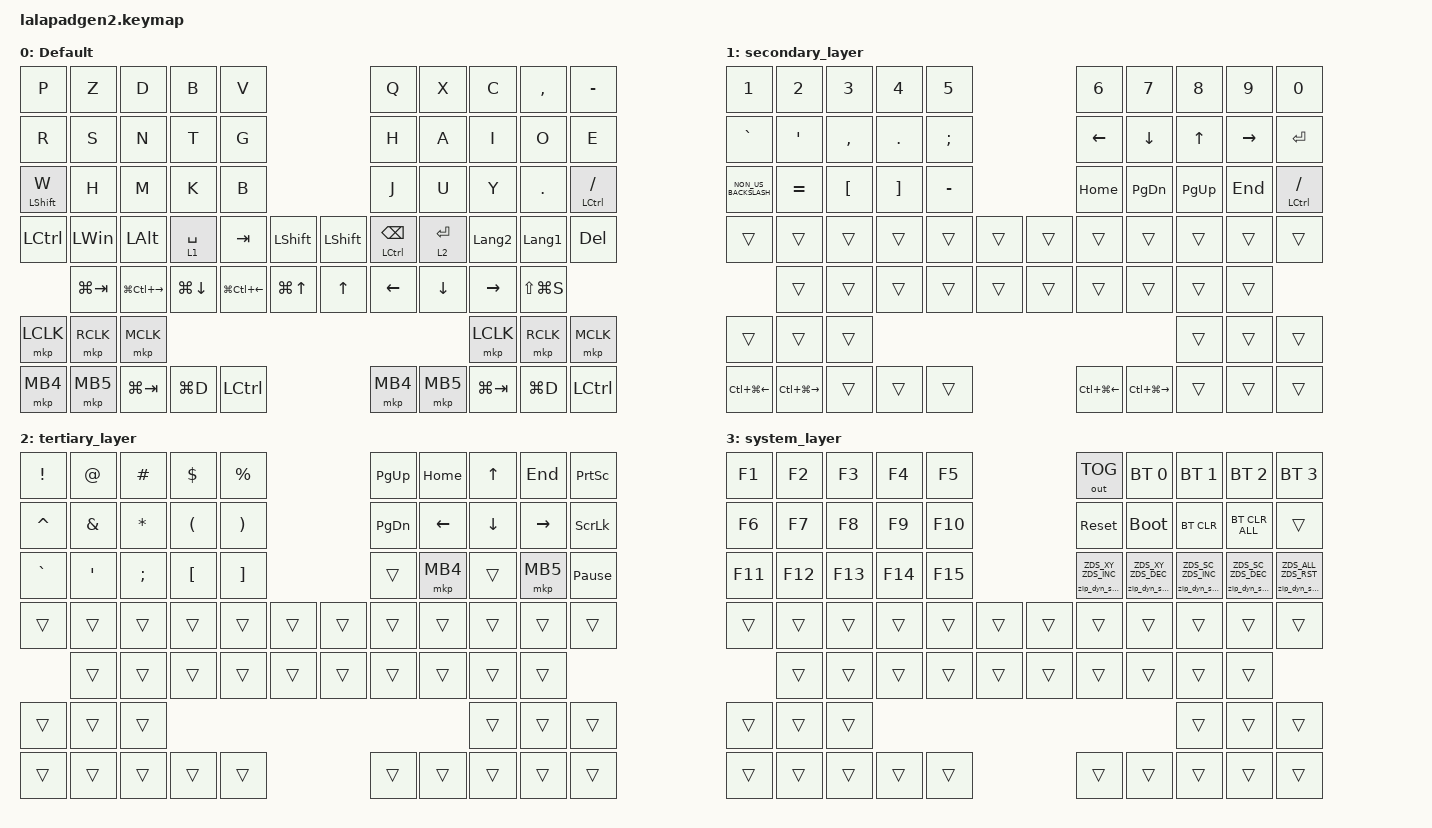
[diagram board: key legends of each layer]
#include <input/processors.dtsi>
#include <dt-bindings/zmk/zip_dynamic_scale.h>
#include <behaviors.dtsi>
#include <dt-bindings/zmk/bt.h>
#include <dt-bindings/zmk/keys.h>
#include <dt-bindings/zmk/outputs.h>
#include <dt-bindings/zmk/pointing.h>

#define DEFAULT_LAYER   0
#define SECONDARY_LAYER 1
#define TERTIARY_LAYER  2
#define SYSTEM_LAYER    3

&mt { quick-tap-ms = <200>; };

&lt { quick-tap-ms = <200>; };

/ {
    behaviors {
        zip_dyn_scale: zip_dyn_scale {
            compatible = "zmk,behavior-zip-dynamic-scale";
            #binding-cells = <2>;
        };

        zip_dyn_scale_set: zip_dyn_scale_set {
            compatible = "zmk,behavior-zip-dynamic-scale-set";
            #binding-cells = <2>;
        };

        mt2: mod_tap2 {
            compatible = "zmk,behavior-hold-tap";
            #binding-cells = <2>;
            flavor = "tap-preferred";
            tapping-term-ms = <200>;
            quick-tap-ms = <200>;
            require-prior-idle-ms = <125>;
            bindings = <&kp>, <&kp>;
        };

        tap_dance_layer_1and2: tap_dance_layer_1and2 {
            compatible = "zmk,behavior-tap-dance";
            label = "td_mo12";
            #binding-cells = <0>;
            bindings = <&mo 1>, <&mo 2>;
        };
    };

    combos {
        compatible = "zmk,combos";

        CONBO_ESC {
            bindings = <&kp ESCAPE>;
            key-positions = <0 1>;
        };

        COMBO_TAB {
            bindings = <&kp TAB>;
            key-positions = <10 11>;
        };

        R_click {
            bindings = <&mkp MB1>;
            key-positions = <12 13>;
        };

        L_click {
            bindings = <&mkp MB2>;
            key-positions = <12 11>;
        };

        M_click {
            bindings = <&mkp MB3>;
            key-positions = <11 13>;
        };

        mouse4 {
            bindings = <&mkp MB4>;
            key-positions = <1 2>;
        };

        mouse5 {
            bindings = <&mkp MB5>;
            key-positions = <2 3>;
        };

        ctrl-z {
            bindings = <&kp LC(Z)>;
            key-positions = <21 22>;
        };

        ctrl-y {
            bindings = <&kp LC(Y)>;
            key-positions = <22 23>;
        };
    };

    keymap {
        compatible = "zmk,keymap";

        DEFAULT_LAYER {
            display-name = "Default";
            bindings = <
&kp P              &kp Z        &kp D              &kp B         &kp V                                             &kp Q                       &kp X        &kp C           &kp COMMA       &kp MINUS
&kp R              &kp S        &kp N              &kp T         &kp G                                             &kp H                       &kp A        &kp I           &kp O           &kp E
&mt2 LEFT_SHIFT W  &kp H        &kp M              &kp K         &kp B                                             &kp J                       &kp U        &kp Y           &kp PERIOD      &mt LEFT_CONTROL SLASH
&kp LCTRL          &kp LWIN     &kp LEFT_ALT       &lt 1 SPACE   &kp TAB           &kp LEFT_SHIFT  &kp LEFT_SHIFT  &mt LEFT_CONTROL BACKSPACE  &lt 2 ENTER  &kp LANGUAGE_2  &kp LANGUAGE_1  &kp DELETE
                   &kp LG(TAB)  &kp LG(LC(RIGHT))  &kp LG(DOWN)  &kp LG(LC(LEFT))  &kp LG(UP)      &kp UP          &kp LEFT                    &kp DOWN     &kp RIGHT       &kp LS(LG(S))
&mkp LCLK          &mkp RCLK    &mkp MCLK                                                                                                                   &mkp LCLK       &mkp RCLK       &mkp MCLK
&mkp MB4           &mkp MB5     &kp LG(TAB)        &kp LG(D)     &kp LCTRL                                         &mkp MB4                    &mkp MB5     &kp LG(TAB)     &kp LG(D)       &kp LCTRL
            >;

            label = "Default";
        };

        SECONDARY_LAYER {
            display-name = "secondary_layer";
            bindings = <
&kp NUMBER_1          &kp NUMBER_2       &kp NUMBER_3      &kp NUMBER_4       &kp N5                     &kp NUMBER_6      &kp N7             &kp N8        &kp N9           &kp N0
&kp GRAVE             &kp APOSTROPHE     &kp COMMA         &kp PERIOD         &kp SEMI                   &kp LEFT_ARROW    &kp DOWN_ARROW     &kp UP_ARROW  &kp RIGHT_ARROW  &kp ENTER
&kp NON_US_BACKSLASH  &kp EQUAL          &kp LEFT_BRACKET  &kp RIGHT_BRACKET  &kp MINUS                  &kp HOME          &kp PAGE_DOWN      &kp PAGE_UP   &kp END          &mt LEFT_CONTROL SLASH
&trans                &trans             &trans            &trans             &trans     &trans  &trans  &trans            &trans             &trans        &trans           &trans
                      &trans             &trans            &trans             &trans     &trans  &trans  &trans            &trans             &trans        &trans
&trans                &trans             &trans                                                                                               &trans        &trans           &trans
&kp LC(LG(LEFT))      &kp LC(LG(RIGHT))  &trans            &trans             &trans                     &kp LC(LG(LEFT))  &kp LC(LG(RIGHT))  &trans        &trans           &trans
            >;
        };

        TERTIARY_LAYER {
            display-name = "tertiary_layer";
            bindings = <
&kp EXCLAMATION  &kp AT_SIGN    &kp HASH      &kp DOLLAR            &kp PERCENT                            &kp PAGE_UP    &kp HOME  &kp UP_ARROW    &kp END    &kp PRINTSCREEN
&kp CARET        &kp AMPERSAND  &kp ASTERISK  &kp LEFT_PARENTHESIS  &kp RIGHT_PARENTHESIS                  &kp PAGE_DOWN  &kp LEFT  &kp DOWN_ARROW  &kp RIGHT  &kp SCROLLLOCK
&kp GRAVE        &kp SQT        &kp SEMI      &kp LEFT_BRACKET      &kp RIGHT_BRACKET                      &trans         &mkp MB4  &trans          &mkp MB5   &kp PAUSE_BREAK
&trans           &trans         &trans        &trans                &trans                 &trans  &trans  &trans         &trans    &trans          &trans     &trans
                 &trans         &trans        &trans                &trans                 &trans  &trans  &trans         &trans    &trans          &trans
&trans           &trans         &trans                                                                                              &trans          &trans     &trans
&trans           &trans         &trans        &trans                &trans                                 &trans         &trans    &trans          &trans     &trans
            >;
        };

        SYSTEM_LAYER {
            display-name = "system_layer";
            bindings = <
&kp F1   &kp F2   &kp F3   &kp F4   &kp F5                   &out OUT_TOG                   &bt BT_SEL 0                   &bt BT_SEL 1                   &bt BT_SEL 2                   &bt BT_SEL 3
&kp F6   &kp F7   &kp F8   &kp F9   &kp F10                  &sys_reset                     &bootloader                    &bt BT_CLR                     &bt BT_CLR_ALL                 &trans
&kp F11  &kp F12  &kp F13  &kp F14  &kp F15                  &zip_dyn_scale ZDS_XY ZDS_INC  &zip_dyn_scale ZDS_XY ZDS_DEC  &zip_dyn_scale ZDS_SC ZDS_INC  &zip_dyn_scale ZDS_SC ZDS_DEC  &zip_dyn_scale ZDS_ALL ZDS_RST
&trans   &trans   &trans   &trans   &trans   &trans  &trans  &trans                         &trans                         &trans                         &trans                         &trans
         &trans   &trans   &trans   &trans   &trans  &trans  &trans                         &trans                         &trans                         &trans
&trans   &trans   &trans                                                                                                   &trans                         &trans                         &trans
&trans   &trans   &trans   &trans   &trans                   &trans                         &trans                         &trans                         &trans                         &trans
            >;
        };
    };

    conditional_layers {
        compatible = "zmk,conditional-layers";

        Cond_Syslayer {
            if-layers = <1 2>;
            then-layer = <3>;
        };
    };
};
